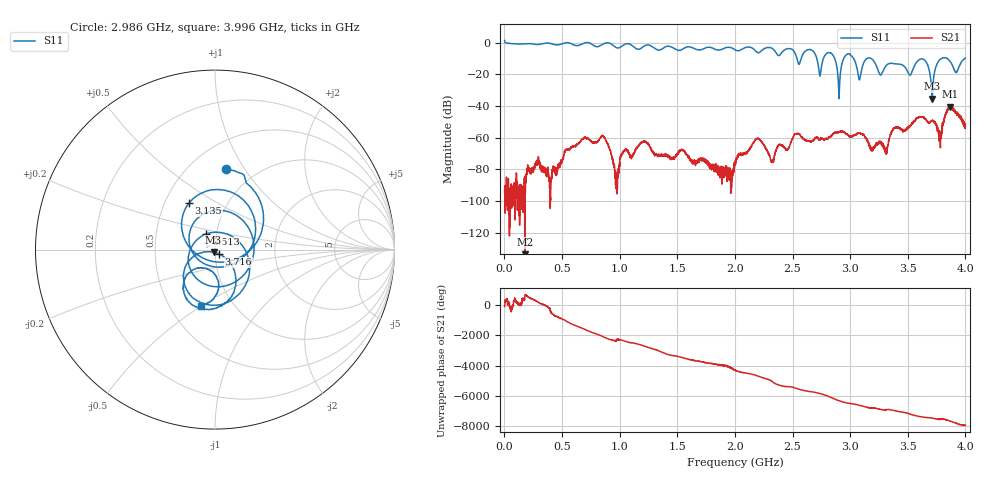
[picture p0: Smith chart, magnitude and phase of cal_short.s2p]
!Created with skrf (http://scikit-rf.org).
# GHz S RI R 50.0
!freq ReS11 ImS11 ReS21 ImS21 ReS12 ImS12 ReS22 ImS22
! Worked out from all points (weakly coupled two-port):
!   4000 points, 1 MHz to 4 GHz, reference 50 ohm
!   highest |S21| = -40.37 dB at 3.868 GHz (marker M1); lowest = -145.3 dB at 176 MHz (marker M2)
!   lowest |S11| = -35.4 dB at 3.71 GHz (marker M3), VSWR 1.03, Z = 49.2 - j1.48 ohm
!   |S11| at or under -10 dB: 3.03 GHz to 3.143 GHz (112.7 MHz wide, 3.65 % of centre); 3.184 GHz to 3.789 GHz (604.5 MHz wide, 17.3 % of centre); 3.844 GHz to 3.993 GHz (149 MHz wide, 3.8 % of centre) (the widest 3 of 8)
!   S12 and S22 are empty: the file has one direction only
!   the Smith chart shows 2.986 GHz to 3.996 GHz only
!   S11 on the Smith chart (normalised r, x): 2.986 GHz: 0.74, +0.83; 3.135 GHz: 0.66, +0.38; 3.513 GHz: 0.90, +0.16; 3.716 GHz: 1.04, -0.05; 3.996 GHz: 0.71, -0.50
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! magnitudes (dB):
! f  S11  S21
! 1 MHz  1.5  -94.4
! 176 MHz  -0.6  -145.3
! 668 MHz  -0.9  -61.4
! 860 MHz  -0.6  -59.2
! 974 MHz  -3.2  -89.7
! 1.2 GHz  -2.7  -62.8
! 1.334 GHz  -4.6  -71.8
! 2.001 GHz  -4.4  -76.8
! 2.193 GHz  -6.1  -60.5
! 2.322 GHz  -3.5  -75.2
! 2.667 GHz  -4.6  -62.1
! 2.903 GHz  -35.2  -56.3
! 2.986 GHz  -6.9  -58.7
! 3.135 GHz  -10.6  -60.0
! 3.334 GHz  -13.2  -62.5
! 3.513 GHz  -20.0  -53.2
! 3.633 GHz  -10.4  -47.0
! 3.71 GHz  -35.4  -49.2
! 3.716 GHz  -29.7  -49.1
! 3.868 GHz  -11.8  -40.4
! 3.996 GHz  -9.8  -51.8
! 4 GHz  -9.7  -51.3
